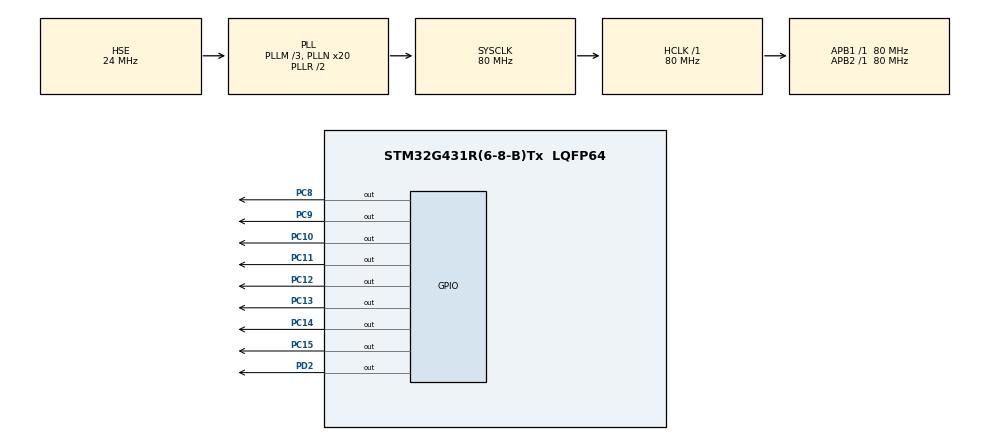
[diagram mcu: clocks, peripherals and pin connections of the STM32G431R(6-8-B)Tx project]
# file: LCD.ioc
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Mcu.Family=STM32G4
Mcu.Name=STM32G431R(6-8-B)Tx
Mcu.Package=LQFP64
NVIC.PriorityGroup=NVIC_PRIORITYGROUP_4
PA13.Mode=Serial_Wire
PA13.Signal=SYS_JTMS-SWDIO
PA14.Mode=Serial_Wire
PA14.Signal=SYS_JTCK-SWCLK
PC10.Signal=GPIO_Output
PC11.Signal=GPIO_Output
PC12.Signal=GPIO_Output
PC13.Signal=GPIO_Output
PC14-OSC32_IN.Signal=GPIO_Output
PC15-OSC32_OUT.Signal=GPIO_Output
PC8.Signal=GPIO_Output
PC9.Signal=GPIO_Output
PD2.Signal=GPIO_Output
PF0-OSC_IN.Mode=HSE-External-Oscillator
PF0-OSC_IN.Signal=RCC_OSC_IN
PF1-OSC_OUT.Mode=HSE-External-Oscillator
PF1-OSC_OUT.Signal=RCC_OSC_OUT
ProjectManager.HeapSize=0x200
ProjectManager.StackSize=0x400
ProjectManager.TargetToolchain=MDK-ARM V5.27
RCC.ADC12Freq_Value=80000000
RCC.AHBFreq_Value=80000000
RCC.APB1Freq_Value=80000000
RCC.APB1TimFreq_Value=80000000
RCC.APB2Freq_Value=80000000
RCC.APB2TimFreq_Value=80000000
RCC.CortexFreq_Value=80000000
RCC.EXTERNAL_CLOCK_VALUE=12288000
RCC.HCLKFreq_Value=80000000
RCC.HSE_VALUE=24000000
RCC.HSI48_VALUE=48000000
RCC.HSI_VALUE=16000000
RCC.LSE_VALUE=32768
RCC.PLLM=RCC_PLLM_DIV3
RCC.PLLN=20
RCC.PLLSourceVirtual=RCC_PLLSOURCE_HSE
RCC.SYSCLKFreq_VALUE=80000000
RCC.SYSCLKSource=RCC_SYSCLKSOURCE_PLLCLK
RCC.USBFreq_Value=80000000
RCC.VCOOutputFreq_Value=160000000
VP_SYS_VS_DBSignals.Mode=DisableDeadBatterySignals
board=custom

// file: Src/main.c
/* USER CODE BEGIN Header */
/**
  ******************************************************************************
  * @file           : main.c
  * @brief          : Main program body
  ******************************************************************************
  * @attention
  *
  * <h2><center>&copy; Copyright (c) 2022 STMicroelectronics.
  * All rights reserved.</center></h2>
  *
  * This software component is licensed by ST under BSD 3-Clause license,
  * the "License"; You may not use this file except in compliance with the
  * License. You may obtain a copy of the License at:
  *                        opensource.org/licenses/BSD-3-Clause
  *
  ******************************************************************************
  */
/* USER CODE END Header */

#include "main.h"
#include "gpio.h"

/* USER CODE BEGIN Includes */
#include "lcd_hal.h"
#include <stdio.h>
/* USER CODE END Includes */

/* USER CODE BEGIN PV */
uint8_t arry[30];
/* USER CODE END PV */

void SystemClock_Config(void);
/* USER CODE BEGIN PFP */
void CloseLed(void);
/* USER CODE END PFP */

int main(void)
{

  /* MCU Configuration--------------------------------------------------------*/

  /* Reset of all peripherals, Initializes the Flash interface and the Systick. */
  HAL_Init();

  /* Configure the system clock */
  SystemClock_Config();

  /* Initialize all configured peripherals */
  MX_GPIO_Init();
  /* USER CODE BEGIN 2 */
  CloseLed();
  LCD_Init();
  LCD_Clear(Black);
  LCD_SetBackColor(Blue);
  LCD_SetTextColor(White);
  LCD_DisplayStringLine(Line0, "00000111112222233333");
  LCD_SetBackColor(Red);
  sprintf((char*)arry,"aaa%.2faaa",123.123);
  LCD_DisplayStringLine(Line1, arry);
  /* USER CODE END 2 */

  /* Infinite loop */
  while (1)
  {

  }
}

void SystemClock_Config(void)
{
  RCC_OscInitTypeDef RCC_OscInitStruct = {0};
  RCC_ClkInitTypeDef RCC_ClkInitStruct = {0};

  /** Configure the main internal regulator output voltage
  */
  HAL_PWREx_ControlVoltageScaling(PWR_REGULATOR_VOLTAGE_SCALE1);
  /** Initializes the CPU, AHB and APB busses clocks
  */
  RCC_OscInitStruct.OscillatorType = RCC_OSCILLATORTYPE_HSE;
  RCC_OscInitStruct.HSEState = RCC_HSE_ON;
  RCC_OscInitStruct.PLL.PLLState = RCC_PLL_ON;
  RCC_OscInitStruct.PLL.PLLSource = RCC_PLLSOURCE_HSE;
  RCC_OscInitStruct.PLL.PLLM = RCC_PLLM_DIV3;
  RCC_OscInitStruct.PLL.PLLN = 20;
  RCC_OscInitStruct.PLL.PLLP = RCC_PLLP_DIV2;
  RCC_OscInitStruct.PLL.PLLQ = RCC_PLLQ_DIV2;
  RCC_OscInitStruct.PLL.PLLR = RCC_PLLR_DIV2;
  if (HAL_RCC_OscConfig(&RCC_OscInitStruct) != HAL_OK)
  {
    Error_Handler();
  }
  /** Initializes the CPU, AHB and APB busses clocks
  */
  RCC_ClkInitStruct.ClockType = RCC_CLOCKTYPE_HCLK|RCC_CLOCKTYPE_SYSCLK
                              |RCC_CLOCKTYPE_PCLK1|RCC_CLOCKTYPE_PCLK2;
  RCC_ClkInitStruct.SYSCLKSource = RCC_SYSCLKSOURCE_PLLCLK;
  RCC_ClkInitStruct.AHBCLKDivider = RCC_SYSCLK_DIV1;
  RCC_ClkInitStruct.APB1CLKDivider = RCC_HCLK_DIV1;
  RCC_ClkInitStruct.APB2CLKDivider = RCC_HCLK_DIV1;

  if (HAL_RCC_ClockConfig(&RCC_ClkInitStruct, FLASH_LATENCY_3) != HAL_OK)
  {
    Error_Handler();
  }
}

/* USER CODE BEGIN 4 */
void CloseLed(void)
{
	HAL_GPIO_WritePin(GPIOC,GPIO_PIN_8 | GPIO_PIN_9 | GPIO_PIN_10 | GPIO_PIN_11 |
							GPIO_PIN_12 | GPIO_PIN_13 | GPIO_PIN_14 | GPIO_PIN_15,GPIO_PIN_SET);
	HAL_GPIO_WritePin(GPIOD,GPIO_PIN_2,GPIO_PIN_SET);
	HAL_GPIO_WritePin(GPIOD,GPIO_PIN_2,GPIO_PIN_RESET);
}
/* USER CODE END 4 */

void Error_Handler(void)
{
}

/************************ (C) COPYRIGHT STMicroelectronics *****END OF FILE****/
